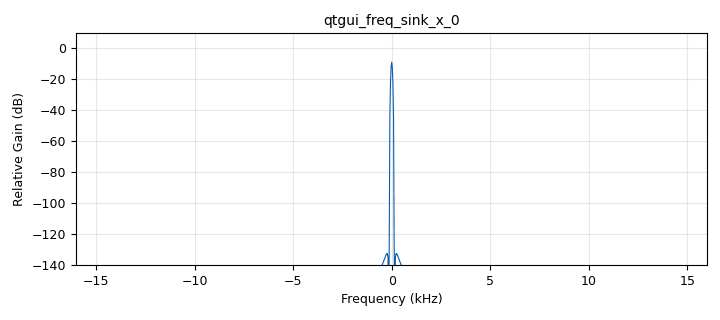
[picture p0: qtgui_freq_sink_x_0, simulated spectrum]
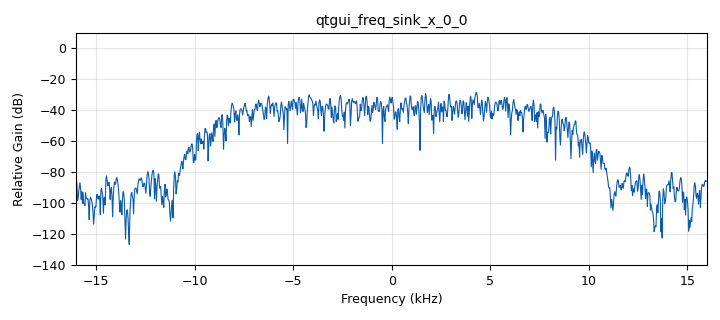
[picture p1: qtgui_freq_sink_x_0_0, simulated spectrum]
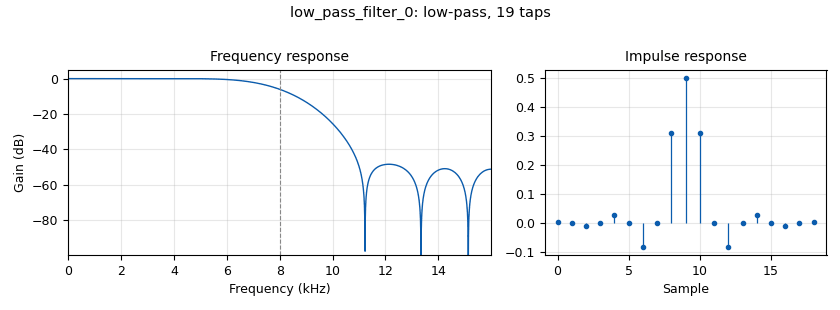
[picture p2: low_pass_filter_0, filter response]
options:
  parameters:
    generate_options: qt_gui
    id: low_pass_filter
    output_language: python
    title: Not titled yet
  states: {}

blocks:
- name: freq
  id: variable_qtgui_range
  parameters:
    start: '-samp_rate/2'
    step: '1'
    stop: samp_rate/2
    value: '0'
  states: {}
- name: samp_rate
  id: variable
  parameters:
    value: '32000'
  states: {}
- name: analog_noise_source_x_0
  id: analog_noise_source_x
  parameters:
    amp: '1'
    noise_type: analog.GR_GAUSSIAN
    seed: '0'
    type: complex
  states: {}
- name: analog_sig_source_x_0
  id: analog_sig_source_x
  parameters:
    amp: '1'
    freq: freq
    offset: '0'
    phase: '0'
    samp_rate: samp_rate
    type: complex
    waveform: analog.GR_COS_WAVE
  states: {}
- name: blocks_throttle2_0
  id: blocks_throttle2
  parameters:
    samples_per_second: samp_rate
    type: complex
  states: {}
- name: blocks_throttle2_0_0
  id: blocks_throttle2
  parameters:
    samples_per_second: samp_rate
    type: complex
  states: {}
- name: low_pass_filter_0
  id: low_pass_filter
  parameters:
    cutoff_freq: samp_rate/4
    decim: '1'
    gain: '1'
    samp_rate: samp_rate
    type: fir_filter_ccf
    width: samp_rate/8
    win: window.WIN_HAMMING
  states: {}
- name: low_pass_filter_0_0
  id: low_pass_filter
  parameters:
    cutoff_freq: samp_rate/4
    decim: '1'
    gain: '1'
    samp_rate: samp_rate
    type: fir_filter_ccf
    width: samp_rate/8
    win: window.WIN_HAMMING
  states: {}
- name: qtgui_freq_sink_x_0
  id: qtgui_freq_sink_x
  parameters:
    bw: samp_rate
    ctrlpanel: 'True'
    fc: '0'
    fftsize: '1024'
    type: complex
  states: {}
- name: qtgui_freq_sink_x_0_0
  id: qtgui_freq_sink_x
  parameters:
    bw: samp_rate
    ctrlpanel: 'True'
    fc: '0'
    fftsize: '1024'
    type: complex
  states: {}

connections:
- [analog_noise_source_x_0, '0', low_pass_filter_0_0, '0']
- [analog_sig_source_x_0, '0', low_pass_filter_0, '0']
- [blocks_throttle2_0, '0', qtgui_freq_sink_x_0, '0']
- [blocks_throttle2_0_0, '0', qtgui_freq_sink_x_0_0, '0']
- [low_pass_filter_0, '0', blocks_throttle2_0, '0']
- [low_pass_filter_0_0, '0', blocks_throttle2_0_0, '0']

metadata:
  file_format: 1
  grc_version: 3.10.6.0
